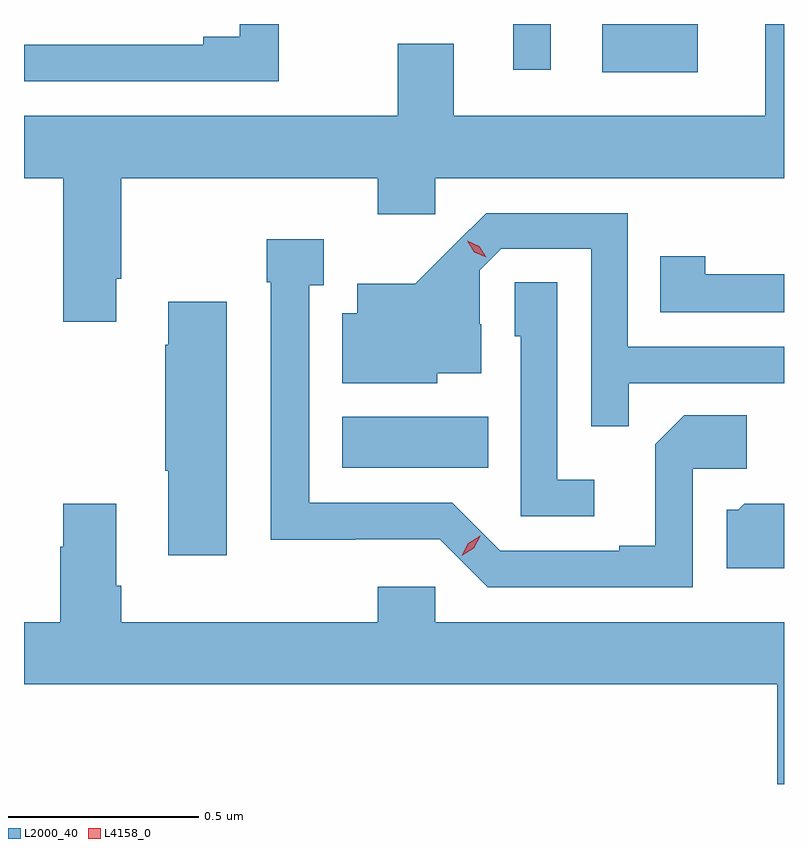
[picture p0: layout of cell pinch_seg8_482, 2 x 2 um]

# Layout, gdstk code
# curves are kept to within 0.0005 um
import gdstk
lib = gdstk.Library(unit=1e-6, precision=1e-09)
def R(c, l, rs):  # rectangles x0, y0, x1, y1
    for r in rs: c.add(gdstk.rectangle(r[:2], r[2:], *l))
def P(c, l, *ps):  # polygons
    for p in ps: c.add(gdstk.Polygon(p, *l))
L2000_40 = (2000, 40)
L4158_0 = (4158, 0)

pinch_seg8_482 = lib.new_cell('pinch_seg8_482')
R(pinch_seg8_482, L2000_40, [(215.294,1142.378,215.678,1142.512), (215.978,1143.419,216.229,1143.546), (215.744,1143.426,215.842,1143.546)])
P(pinch_seg8_482, L2000_40, [(215.126,1143.546),(215.024,1143.546),(215.024,1143.512),(214.928,1143.512),(214.928,1143.492),(214.456,1143.492),(214.456,1143.396),(215.126,1143.396)],
  [(214.699,1142.875),(214.712,1142.875),(214.712,1143.14),(215.387,1143.14),(215.387,1143.045),(215.538,1143.045),(215.538,1143.14),(216.456,1143.14),(216.456,1143.546),(216.407,1143.546),(216.407,1143.304),(215.587,1143.304),(215.587,1143.494),(215.44,1143.494),(215.44,1143.304),(214.456,1143.304),(214.456,1143.14),(214.559,1143.14),(214.559,1142.763),(214.699,1142.763)],
  [(216.047,1142.601),(216.456,1142.601),(216.456,1142.697),(216.045,1142.697),(216.045,1143.048),(215.672,1143.048),(215.485,1142.863),(215.333,1142.863),(215.333,1142.785),(215.294,1142.785),(215.294,1142.6),(215.544,1142.6),(215.544,1142.627),(215.659,1142.627),(215.659,1142.756),(215.655,1142.756),(215.655,1142.898),(215.712,1142.955),(215.949,1142.955),(215.949,1142.488),(216.047,1142.488)],
  [(216.216,1142.376),(216.358,1142.376),(216.358,1142.516),(216.193,1142.516),(216.117,1142.44),(216.117,1142.173),(216.023,1142.173),(216.023,1142.16),(215.709,1142.16),(215.583,1142.286),(215.206,1142.286),(215.206,1142.859),(215.245,1142.859),(215.245,1142.98),(215.095,1142.98),(215.095,1142.867),(215.105,1142.867),(215.105,1142.189),(215.328,1142.189),(215.328,1142.19),(215.55,1142.19),(215.676,1142.064),(216.216,1142.064)],
  [(216.456,1142.888),(216.249,1142.888),(216.249,1142.935),(216.13,1142.935),(216.13,1142.787),(216.456,1142.787)],
  [(215.956,1142.347),(215.859,1142.347),(215.859,1142.867),(215.748,1142.867),(215.748,1142.724),(215.763,1142.724),(215.763,1142.25),(215.956,1142.25)],
  [(214.99,1142.815),(214.835,1142.815),(214.835,1142.702),(214.828,1142.702),(214.828,1142.371),(214.835,1142.371),(214.835,1142.148),(214.99,1142.148)],
  [(216.456,1141.972),(215.538,1141.972),(215.538,1142.065),(215.387,1142.065),(215.387,1141.972),(214.712,1141.972),(214.712,1142.068),(214.699,1142.068),(214.699,1142.284),(214.559,1142.284),(214.559,1142.171),(214.552,1142.171),(214.552,1141.972),(214.456,1141.972),(214.456,1141.808),(216.438,1141.808),(216.438,1141.546),(216.456,1141.546)],
  [(216.456,1142.284),(216.352,1142.284),(216.336,1142.268),(216.305,1142.268),(216.305,1142.114),(216.456,1142.114)])
P(pinch_seg8_482, L4158_0, [(215.608,1142.147),(215.608,1142.147),(215.625,1142.18),(215.656,1142.199),(215.657,1142.199),(215.657,1142.198),(215.639,1142.166),(215.608,1142.147)],
  [(215.672,1142.932),(215.641,1142.946),(215.623,1142.975),(215.623,1142.976),(215.623,1142.976),(215.654,1142.961),(215.672,1142.932),(215.672,1142.932)])

lib.write_gds('pinch_seg8_482.gds')
